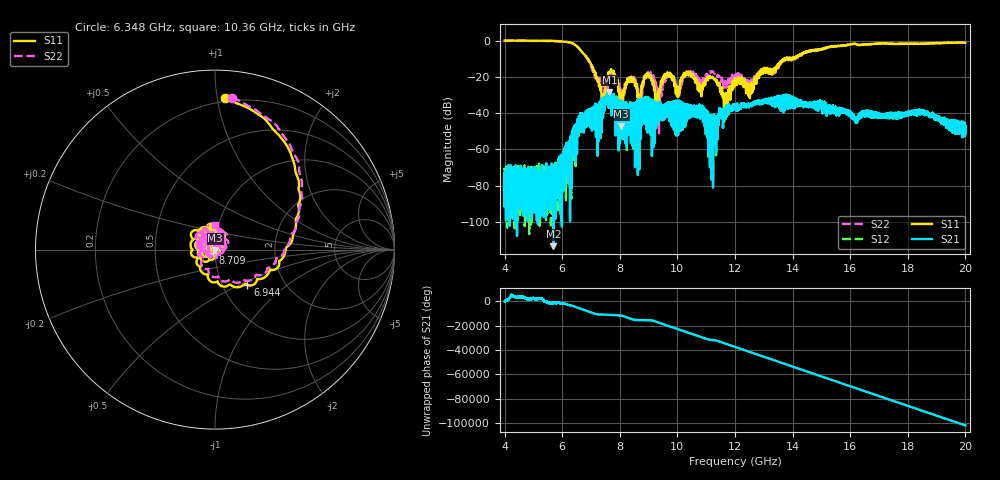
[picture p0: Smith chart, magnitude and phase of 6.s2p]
[Version] 2.0
! Rohde & Schwarz Vector Network Analyzer
! Rohde-Schwarz,ZNL20-2Port,1323001220200009,1.71.1.10-23.02.1.238
! Port Assignments:
! Nominal Port -> Actual Test Port
!  1 -> 1
!  2 -> 2
! Created: GMT+2 2025-01-16 20:22:28
# Hz S RI R 50
[Number of Ports] 2
[Two-Port Data Order] 21_12
! freq[Hz]  S11[Re]  S11[Im]  S21[Re]  S21[Im]  S12[Re]  S12[Im]  S22[Re]  S22[Im]
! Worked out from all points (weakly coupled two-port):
!   16001 points, 4 GHz to 20 GHz, reference 50 ohm
!   highest |S21| = -28.37 dB at 7.641 GHz (marker M1); lowest = -113.4 dB at 5.694 GHz (marker M2)
!   lowest |S11| = -47.2 dB at 8.052 GHz (marker M3), VSWR 1.01, Z = 50.1 - j0.433 ohm
!   |S11| at or under -10 dB: 6.889 GHz to 13.7 GHz (6.812 GHz wide, 66.2 % of centre); 13.7151 GHz to 13.74359 GHz (28.49 MHz wide, 0.208 % of centre); 13.94335 GHz to 13.96749 GHz (24.14 MHz wide, 0.173 % of centre) (the widest 3 of 9)
!   |S22| runs from -52.7 to 0.0 dB; largest |S21 - S12| = 0.0023
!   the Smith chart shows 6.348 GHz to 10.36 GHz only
!   S11 on the Smith chart (normalised r, x): 6.348 GHz: 0.18, +1.05; 6.944 GHz: 1.31, -0.55; 8.709 GHz: 0.98, -0.04; 10.36 GHz: 0.93, +0.25
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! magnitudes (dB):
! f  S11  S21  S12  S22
! 4 GHz  0.0  -81.2  -74.7  -0.2
! 5.694 GHz  -0.1  -113.4  -78.9  -0.3
! 6.348 GHz  -1.5  -50.5  -50.7  -1.4
! 6.667 GHz  -5.9  -42.6  -42.2  -6.0
! 6.944 GHz  -11.5  -43.3  -43.1  -12.4
! 7.403 GHz  -29.9  -34.4  -34.4  -22.3
! 7.641 GHz  -17.3  -28.4  -28.3  -19.9
! 8.052 GHz  -47.2  -50.4  -50.7  -31.8
! 8.427 GHz  -22.8  -41.2  -41.0  -21.7
! 8.709 GHz  -32.9  -34.6  -34.7  -38.3
! 9.002 GHz  -20.2  -33.4  -33.5  -18.9
! 9.334 GHz  -28.3  -34.2  -34.2  -31.0
! 9.584 GHz  -20.6  -38.7  -38.6  -22.1
! 10.05 GHz  -25.6  -33.3  -33.2  -27.7
! 10.36 GHz  -17.7  -38.1  -38.2  -17.4
! 11.16 GHz  -20.8  -41.4  -41.8  -17.6
! 11.68 GHz  -29.0  -42.1  -42.0  -22.8
! 12 GHz  -20.8  -36.7  -36.6  -18.4
! 12.54 GHz  -24.5  -35.5  -35.6  -22.1
! 14.67 GHz  -5.5  -34.5  -34.5  -5.8
! 17.33 GHz  -1.8  -41.0  -41.1  -1.8
! 20 GHz  -1.2  -49.3  -48.9  -1.1
